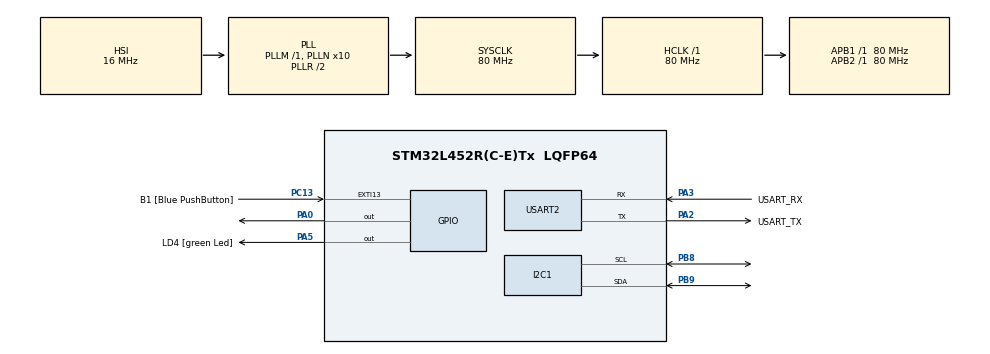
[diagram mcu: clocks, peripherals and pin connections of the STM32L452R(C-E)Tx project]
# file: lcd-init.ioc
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I2C1.Timing=0x10909CEC
Mcu.Family=STM32L4
Mcu.Name=STM32L452R(C-E)Tx
Mcu.Package=LQFP64
NVIC.PriorityGroup=NVIC_PRIORITYGROUP_4
PA0.Signal=GPIO_Output
PA13\ (JTMS/SWDIO).GPIO_Label=TMS
PA13\ (JTMS/SWDIO).Mode=Serial_Wire
PA13\ (JTMS/SWDIO).Signal=SYS_JTMS-SWDIO
PA14\ (JTCK/SWCLK).GPIO_Label=TCK
PA14\ (JTCK/SWCLK).Mode=Serial_Wire
PA14\ (JTCK/SWCLK).Signal=SYS_JTCK-SWCLK
PA2.GPIO_Label=USART_TX
PA2.GPIO_Mode=GPIO_MODE_AF_PP
PA2.GPIO_PuPd=GPIO_NOPULL
PA2.GPIO_Speed=GPIO_SPEED_FREQ_VERY_HIGH
PA2.Mode=Asynchronous
PA2.Signal=USART2_TX
PA3.GPIO_Label=USART_RX
PA3.GPIO_Mode=GPIO_MODE_AF_PP
PA3.GPIO_PuPd=GPIO_NOPULL
PA3.GPIO_Speed=GPIO_SPEED_FREQ_VERY_HIGH
PA3.Mode=Asynchronous
PA3.Signal=USART2_RX
PA5.GPIO_Label=LD4 [green Led]
PA5.GPIO_ModeDefaultOutputPP=GPIO_MODE_OUTPUT_PP
PA5.GPIO_PuPd=GPIO_NOPULL
PA5.GPIO_Speed=GPIO_SPEED_FREQ_LOW
PA5.Signal=GPIO_Output
PB3\ (JTDO/TRACESWO).GPIO_Label=SWO
PB3\ (JTDO/TRACESWO).Signal=SYS_JTDO-SWO
PB8.Mode=I2C
PB8.Signal=I2C1_SCL
PB9.Mode=I2C
PB9.Signal=I2C1_SDA
PC13.GPIO_Label=B1 [Blue PushButton]
PC13.GPIO_ModeDefaultEXTI=GPIO_MODE_IT_FALLING
PC13.GPIO_PuPd=GPIO_NOPULL
PC13.Signal=GPXTI13
PC14-OSC32_IN\ (PC14).Mode=LSE-External-Oscillator
PC14-OSC32_IN\ (PC14).Signal=RCC_OSC32_IN
PC15-OSC32_OUT\ (PC15).Mode=LSE-External-Oscillator
PC15-OSC32_OUT\ (PC15).Signal=RCC_OSC32_OUT
PH0-OSC_IN\ (PH0).Signal=RCC_OSC_IN
PH1-OSC_OUT\ (PH1).Signal=RCC_OSC_OUT
ProjectManager.HeapSize=0x200
ProjectManager.StackSize=0x400
ProjectManager.TargetToolchain=STM32CubeIDE
RCC.ADCFreq_Value=64000000
RCC.AHBFreq_Value=80000000
RCC.APB1Freq_Value=80000000
RCC.APB1TimFreq_Value=80000000
RCC.APB2Freq_Value=80000000
RCC.APB2TimFreq_Value=80000000
RCC.CortexFreq_Value=80000000
RCC.HCLKFreq_Value=80000000
RCC.HSE_VALUE=8000000
RCC.HSI48_VALUE=48000000
RCC.HSI_VALUE=16000000
RCC.MSI_VALUE=4000000
RCC.PLLN=10
RCC.PLLSourceVirtual=RCC_PLLSOURCE_HSI
RCC.PREFETCH_ENABLE=1
RCC.SYSCLKFreq_VALUE=80000000
RCC.SYSCLKSource=RCC_SYSCLKSOURCE_PLLCLK
RCC.USBFreq_Value=64000000
RCC.VCOOutputFreq_Value=160000000
USART2.VirtualMode-Asynchronous=VM_ASYNC
board=NUCLEO-L452RE

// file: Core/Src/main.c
/* USER CODE BEGIN Header */
/**
  ******************************************************************************
  * @file           : main.c
  * @brief          : Main program body
  ******************************************************************************
  * @attention
  *
  * Copyright (c) 2023 STMicroelectronics.
  * All rights reserved.
  *
  * This software is licensed under terms that can be found in the LICENSE file
  * in the root directory of this software component.
  * If no LICENSE file comes with this software, it is provided AS-IS.
  *
  ******************************************************************************
  *	prints cursor or "hello world" or hardcoded xyz coordinates of an accelerometer
  *	works with LCD screen
  */
/* USER CODE END Header */
#include "main.h"

/* USER CODE BEGIN Includes */
#include <string.h>
#include <stdio.h>
/* USER CODE END Includes */

/* USER CODE BEGIN PD */

// from screen_cmds.h
#define SCREEN_ADDR	0x78									// i2c address from datasheet

#define COMMAND_CLEAR_DISPLAY						0x01
#define COMMAND_RETURN_HOME							0x02
#define COMMAND_ENTRY_MODE_SET						0x04
#define ENTRY_MODE_LEFT_TO_RIGHT					0x02
#define ENTRY_MODE_SHIFT_INCREMENT					0x01
#define COMMAND_CURSORSHIFT							0x10
#define CURSORSHIFT_MOVERIGHT						0x04
#define CURSORSHIFT_MOVELEFT						0x00

#define COMMAND_ADDRESS_DDRAM						0x80
#define COMMAND_ADDRESS_CGRAM                       0x40

#define COMMAND_8BIT_4LINES_NORMAL_RE1_IS0			0x3A  //Extended command access RE = 1
#define COMMAND_8BIT_4LINES_REVERSE_RE1_IS0			0x3B  //Extended command access RE = 1
#define COMMAND_8BIT_4LINES_RE0_IS1					0x39  //Extended command access IS = 1
#define COMMAND_8BIT_4LINES_RE0_IS0					0x38  //Normal mode...

//Command from extended set (RE = 1, IS = 0)
#define COMMAND_BS1_1								0x1E
#define COMMAND_POWER_DOWN_DISABLE					0x02
#define COMMAND_SEGMENT_TOP_VIEW					0x05
#define COMMAND_SEGMENT_BOTTOM_VIEW					0x06
#define COMMAND_NW									0x09

//Command from extended set (RE = 0, IS = 1)
#define COMMAND_DISPLAY_ON_CURSOR_ON_BLINK_ON		0x0F
#define COMMAND_DISPLAY_ON_CURSOR_ON_BLINK_OFF		0x0E
#define COMMAND_DISPLAY_ON_CURSOR_OFF_BLINK_OFF		0x0C
#define COMMAND_DISPLAY_OFF_CURSOR_OFF_BLINK_OFF	0x08
#define COMMAND_BS0_1								0x1B
#define COMMAND_INTERNAL_DIVIDER					0x13
#define COMMAND_CONTRAST							0x77
#define COMMAND_POWER_ICON_CONTRAST					0x5C
#define COMMAND_FOLLOWER_CONTROL					0x6E
#define COMMAND_POWER_BOOSTER_CONTRAST				0x57		//Booster on and set contrast (DB1=C5, DB0=C4)
#define COMMAND_SET_CONTRAST_1010					0x7A		//Booster on and set contrast (DB1=C5, DB0=C4)

// Cursor Commands
#define COMMAND_SET_CURSOR_LINE_1					0x80		//Move the cursor to line 1
#define COMMAND_SET_CURSOR_LINE_2					0xA0		//Move the cursor to line 1
#define COMMAND_SET_CURSOR_LINE_3					0xC0		//Move the cursor to line 1
#define COMMAND_SET_CURSOR_LINE_4					0xE0		//Move the cursor to line 1

#define LINE_LENGTH 10 // number of chars in a line (4x10 screen)

// more variables
float xg, yg, zg;

/* USER CODE END PD */

I2C_HandleTypeDef hi2c1;

UART_HandleTypeDef huart2;

void SystemClock_Config(void);
static void MX_GPIO_Init(void);
static void MX_USART2_UART_Init(void);
static void MX_I2C1_Init(void);
/* USER CODE BEGIN PFP */

/// @brief Write an I2C cmd to DOGS164N LCD display,
/// including start, stop and address operations
///
/// @param addr - Slave address of display
/// @param cmd  - "command" byte to be send
///
/// @return none
///
void I2Csendcmd(uint8_t addr, uint8_t cmd) {
	// start transmission -- should be done by HAL_I2C_Master_Transmit function already
	uint8_t data[2];
	data[0] = 0x00;
	data[1] = cmd; // data byte (not data, but command)

	HAL_I2C_Master_Transmit (&hi2c1, addr, data, 2, HAL_MAX_DELAY);

	/* // stuff for debugging
	uint8_t working[] = "\r\n working";
	uint8_t not_working[] = "\r\n not working";
	if (HAL_I2C_Master_Transmit (&hi2c1, addr, data, 2, HAL_MAX_DELAY) == 0) { // HAL_OK, TODO: add breakpoint here
		HAL_UART_Transmit(&huart2, working, sizeof(working), HAL_MAX_DELAY);
	} else {
		HAL_UART_Transmit(&huart2, not_working, sizeof(not_working), HAL_MAX_DELAY);
	}
	*/
}
/// @brief Write a byte of data to DOGS164N LCD display,
/// including start, stop and address operations
///
/// @param addr - Slave address of display
/// @param data  - "data" byte to be send
///
/// @return none
///
void I2Csenddatum (uint8_t addr, uint8_t data) { // I2Csenddatum(SCREEN_ADDR, string_to_write[letter]);
	uint8_t datum[2];
	datum[0] = 0x40;
	datum[1] = data; // data byte (not data, but command)

	HAL_I2C_Master_Transmit (&hi2c1, addr, datum, 2, HAL_MAX_DELAY);
}

/**
  * @brief  Receives in master mode an amount of data in blocking mode.
  * @param  hi2c Pointer to a I2C_HandleTypeDef structure that contains
  *                the configuration information for the specified I2C.
  * @param  DevAddress Target device address: The device 7 bits address value
  *         in datasheet must be shifted to the left before calling the interface
  * @param  pData Pointer to data buffer
  * @param  Size Amount of data to be sent
  * @param  Timeout Timeout duration
  * @retval HAL status
  */
//HAL_StatusTypeDef HAL_I2C_Master_Receive(I2C_HandleTypeDef *hi2c, uint16_t DevAddress, uint8_t *pData,
//                                         uint16_t Size, uint32_t Timeout)

/**
  * @brief Send an amount of data in blocking mode.
  * @param huart   UART handle.
  * @param pData   Pointer to data buffer (u8 or u16 data elements).
  * @param Size    Amount of data elements (u8 or u16) to be sent.
  * @param Timeout Timeout duration.
  * @retval HAL status
  */
// HAL_StatusTypeDef HAL_UART_Transmit(UART_HandleTypeDef *huart, const uint8_t *pData, uint16_t Size, uint32_t Timeout)

void I2Cread (uint8_t addr) {
	uint8_t data[2];
	HAL_I2C_Master_Receive(&hi2c1, addr, data, 1, 10); // TODO: might be wrong
	HAL_UART_Transmit(&huart2,data,strlen((char*)data),HAL_MAX_DELAY); // TODO: delete this after - just for debugging
}

void screen_init(void){

	/* // stuff for debugging
	uint8_t one[] = "\r\n instr 1:"; //Data to send
	HAL_UART_Transmit(&huart2,one,sizeof(one),10);// Sending in normal mode
	I2Csendcmd(SCREEN_ADDR, COMMAND_CLEAR_DISPLAY); // 0x78, 0x01

	uint8_t two[] = "\r\n instr 2:"; //Data to send
	HAL_UART_Transmit(&huart2,two,sizeof(two),10);// Sending in normal mode
	I2Csendcmd(SCREEN_ADDR, COMMAND_8BIT_4LINES_NORMAL_RE1_IS0); // 0x3A

	uint8_t three[] = "\r\n instr 3:"; //Data to send
	HAL_UART_Transmit(&huart2,three,sizeof(three),10);// Sending in normal mode
	I2Csendcmd(SCREEN_ADDR, COMMAND_NW); // 0x09

	uint8_t four[] = "\r\n instr 4:"; //Data to send
	HAL_UART_Transmit(&huart2,four,sizeof(four),10);// Sending in normal mode
	I2Csendcmd(SCREEN_ADDR, COMMAND_SEGMENT_BOTTOM_VIEW); // 0x06

	uint8_t five[] = "\r\n instr 5:"; //Data to send
	HAL_UART_Transmit(&huart2,five,sizeof(five),10);// Sending in normal mode
	I2Csendcmd(SCREEN_ADDR, COMMAND_BS1_1); // 0x1E

	uint8_t six[] = "\r\n instr 6:"; //Data to send
	HAL_UART_Transmit(&huart2,six,sizeof(six),10);// Sending in normal mode
	I2Csendcmd(SCREEN_ADDR, COMMAND_8BIT_4LINES_RE0_IS1); // 0x39

	I2Csendcmd(SCREEN_ADDR, COMMAND_BS0_1); // 0x1B
	I2Csendcmd(SCREEN_ADDR, COMMAND_FOLLOWER_CONTROL); // 0x6E
	I2Csendcmd(SCREEN_ADDR, COMMAND_POWER_BOOSTER_CONTRAST); // 0x57
	I2Csendcmd(SCREEN_ADDR, COMMAND_SET_CONTRAST_1010); // 0x7A
	I2Csendcmd(SCREEN_ADDR, COMMAND_8BIT_4LINES_RE0_IS0); // 0x38
	I2Csendcmd(SCREEN_ADDR, COMMAND_DISPLAY_ON_CURSOR_ON_BLINK_ON); // 0x0F

	I2Csendcmd(SCREEN_ADDR, COMMAND_CLEAR_DISPLAY); // 0x01
	*/

	I2Csendcmd(SCREEN_ADDR, COMMAND_CLEAR_DISPLAY); // 0x78, 0x01
	I2Csendcmd(SCREEN_ADDR, COMMAND_8BIT_4LINES_NORMAL_RE1_IS0); // 0x3A
	I2Csendcmd(SCREEN_ADDR, COMMAND_NW);
	I2Csendcmd(SCREEN_ADDR, COMMAND_SEGMENT_BOTTOM_VIEW);
	I2Csendcmd(SCREEN_ADDR, COMMAND_BS1_1);
	I2Csendcmd(SCREEN_ADDR, COMMAND_8BIT_4LINES_RE0_IS1);
	I2Csendcmd(SCREEN_ADDR, COMMAND_BS0_1);
	I2Csendcmd(SCREEN_ADDR, COMMAND_FOLLOWER_CONTROL);
	I2Csendcmd(SCREEN_ADDR, COMMAND_POWER_BOOSTER_CONTRAST);
	I2Csendcmd(SCREEN_ADDR, COMMAND_SET_CONTRAST_1010);
	I2Csendcmd(SCREEN_ADDR, COMMAND_8BIT_4LINES_RE0_IS0);
	I2Csendcmd(SCREEN_ADDR, COMMAND_DISPLAY_ON_CURSOR_ON_BLINK_ON);

	I2Csendcmd(SCREEN_ADDR, COMMAND_CLEAR_DISPLAY);

}

void screen_write_string(char string_to_write[]) {

	int letter=0; // index for string

	I2Csendcmd(SCREEN_ADDR, COMMAND_CLEAR_DISPLAY);
	I2Csendcmd(SCREEN_ADDR, COMMAND_SET_CURSOR_LINE_1);
	int current_line = COMMAND_SET_CURSOR_LINE_1;

	while(string_to_write[letter]!='\0') // check if end of string
	{
		if ((letter != 0) && (letter % LINE_LENGTH == 0)) // move to a next line if index is a multiple of 10
		{
			if (current_line == COMMAND_SET_CURSOR_LINE_4){ // clear screen and put cursor to line 1 when screen is filled
				current_line = COMMAND_SET_CURSOR_LINE_1;// We've gone past the end of the line, go to the next one
				I2Csendcmd(SCREEN_ADDR, COMMAND_CLEAR_DISPLAY);
			}
			else {
				current_line = current_line+0x20;
				I2Csendcmd(SCREEN_ADDR, current_line); // We've gone past the end of the line, go to the next one
			}
		}

		I2Csenddatum(SCREEN_ADDR, string_to_write[letter]);
		letter++;
	}

}

void screen_write_xyz (float x, float y, float z) {

	char str_x[11]; // not 10 bc dont want cursor to do funky stuff if reach multiple of 10
	char str_y[11];
	char str_z[11];
	char str_xyz[30];

	for (int i=0; i<30; i++) {
		str_xyz[i] = '\0';
	}
	// check if all chars initialized to NULL

	sprintf (str_x, "X:%.4f  ", x); // check str_x
	sprintf (str_y, "Y:%.4f  ", y); // check str_y
	sprintf (str_z, "Z:%.4f  ", z); // check str_z

	strcpy (str_xyz, str_x);
	strcat (str_xyz, str_y);
	strcat (str_xyz, str_z);
	// check str_xyz

	screen_write_string(str_xyz);

}

void screen_write_accel_data (float x, float y, float z) {
	I2Csendcmd(SCREEN_ADDR, COMMAND_CLEAR_DISPLAY);
	screen_write_xyz(x,y,z);
	HAL_Delay(100);
}

/* USER CODE END PFP */

int main(void)
{
  /* USER CODE BEGIN 1 */
	const int STR_LEN = 40;
	char string_to_write[STR_LEN];
  /* USER CODE END 1 */

  /* MCU Configuration--------------------------------------------------------*/

  /* Reset of all peripherals, Initializes the Flash interface and the Systick. */
  HAL_Init();

  /* Configure the system clock */
  SystemClock_Config();

  /* Initialize all configured peripherals */
  MX_GPIO_Init();
  MX_USART2_UART_Init();
  MX_I2C1_Init();
  /* USER CODE BEGIN 2 */

  // turn off display, turn on display (translated from PORTD section of Stewart's code)
  HAL_Delay(5);
  HAL_GPIO_WritePin(GPIOA, GPIO_PIN_0,GPIO_PIN_RESET);
  HAL_Delay(200);
  HAL_GPIO_WritePin(GPIOA, GPIO_PIN_0,GPIO_PIN_SET);
  HAL_Delay(5);

  //1. clear screen
    screen_init();

    uint8_t cursor[] = "\r\n look at the screen for cursor :D"; //Data to send
    HAL_UART_Transmit(&huart2,cursor,sizeof(cursor),10);// Sending in normal mode

  //2. write Hello World to display
    sprintf(string_to_write, "hello world");
    screen_write_string(string_to_write);

    uint8_t hello_world[] = "\r\n look at the screen for hello world :D"; //Data to send
    HAL_UART_Transmit(&huart2,hello_world,sizeof(hello_world),10);// Sending in normal mode

  // 3. display x
    xg = 0.1234567;
    screen_write_xyz(xg,xg,xg);

  /* USER CODE END 2 */

  /* Infinite loop */
  while (1)
  {

  }
}

void SystemClock_Config(void)
{
  RCC_OscInitTypeDef RCC_OscInitStruct = {0};
  RCC_ClkInitTypeDef RCC_ClkInitStruct = {0};

  /** Configure the main internal regulator output voltage
  */
  if (HAL_PWREx_ControlVoltageScaling(PWR_REGULATOR_VOLTAGE_SCALE1) != HAL_OK)
  {
    Error_Handler();
  }

  /** Initializes the RCC Oscillators according to the specified parameters
  * in the RCC_OscInitTypeDef structure.
  */
  RCC_OscInitStruct.OscillatorType = RCC_OSCILLATORTYPE_HSI;
  RCC_OscInitStruct.HSIState = RCC_HSI_ON;
  RCC_OscInitStruct.HSICalibrationValue = RCC_HSICALIBRATION_DEFAULT;
  RCC_OscInitStruct.PLL.PLLState = RCC_PLL_ON;
  RCC_OscInitStruct.PLL.PLLSource = RCC_PLLSOURCE_HSI;
  RCC_OscInitStruct.PLL.PLLM = 1;
  RCC_OscInitStruct.PLL.PLLN = 10;
  RCC_OscInitStruct.PLL.PLLP = RCC_PLLP_DIV7;
  RCC_OscInitStruct.PLL.PLLQ = RCC_PLLQ_DIV2;
  RCC_OscInitStruct.PLL.PLLR = RCC_PLLR_DIV2;
  if (HAL_RCC_OscConfig(&RCC_OscInitStruct) != HAL_OK)
  {
    Error_Handler();
  }

  /** Initializes the CPU, AHB and APB buses clocks
  */
  RCC_ClkInitStruct.ClockType = RCC_CLOCKTYPE_HCLK|RCC_CLOCKTYPE_SYSCLK
                              |RCC_CLOCKTYPE_PCLK1|RCC_CLOCKTYPE_PCLK2;
  RCC_ClkInitStruct.SYSCLKSource = RCC_SYSCLKSOURCE_PLLCLK;
  RCC_ClkInitStruct.AHBCLKDivider = RCC_SYSCLK_DIV1;
  RCC_ClkInitStruct.APB1CLKDivider = RCC_HCLK_DIV1;
  RCC_ClkInitStruct.APB2CLKDivider = RCC_HCLK_DIV1;

  if (HAL_RCC_ClockConfig(&RCC_ClkInitStruct, FLASH_LATENCY_4) != HAL_OK)
  {
    Error_Handler();
  }
}

static void MX_I2C1_Init(void)
{

  hi2c1.Instance = I2C1;
  hi2c1.Init.Timing = 0x10909CEC;
  hi2c1.Init.OwnAddress1 = 0;
  hi2c1.Init.AddressingMode = I2C_ADDRESSINGMODE_7BIT;
  hi2c1.Init.DualAddressMode = I2C_DUALADDRESS_DISABLE;
  hi2c1.Init.OwnAddress2 = 0;
  hi2c1.Init.OwnAddress2Masks = I2C_OA2_NOMASK;
  hi2c1.Init.GeneralCallMode = I2C_GENERALCALL_DISABLE;
  hi2c1.Init.NoStretchMode = I2C_NOSTRETCH_DISABLE;
  if (HAL_I2C_Init(&hi2c1) != HAL_OK)
  {
    Error_Handler();
  }

  /** Configure Analogue filter
  */
  if (HAL_I2CEx_ConfigAnalogFilter(&hi2c1, I2C_ANALOGFILTER_ENABLE) != HAL_OK)
  {
    Error_Handler();
  }

  /** Configure Digital filter
  */
  if (HAL_I2CEx_ConfigDigitalFilter(&hi2c1, 0) != HAL_OK)
  {
    Error_Handler();
  }

}

static void MX_USART2_UART_Init(void)
{

  huart2.Instance = USART2;
  huart2.Init.BaudRate = 115200;
  huart2.Init.WordLength = UART_WORDLENGTH_8B;
  huart2.Init.StopBits = UART_STOPBITS_1;
  huart2.Init.Parity = UART_PARITY_NONE;
  huart2.Init.Mode = UART_MODE_TX_RX;
  huart2.Init.HwFlowCtl = UART_HWCONTROL_NONE;
  huart2.Init.OverSampling = UART_OVERSAMPLING_16;
  huart2.Init.OneBitSampling = UART_ONE_BIT_SAMPLE_DISABLE;
  huart2.AdvancedInit.AdvFeatureInit = UART_ADVFEATURE_NO_INIT;
  if (HAL_UART_Init(&huart2) != HAL_OK)
  {
    Error_Handler();
  }

}

static void MX_GPIO_Init(void)
{
  GPIO_InitTypeDef GPIO_InitStruct = {0};

  /* GPIO Ports Clock Enable */
  __HAL_RCC_GPIOC_CLK_ENABLE();
  __HAL_RCC_GPIOH_CLK_ENABLE();
  __HAL_RCC_GPIOA_CLK_ENABLE();
  __HAL_RCC_GPIOB_CLK_ENABLE();

  /*Configure GPIO pin Output Level */
  HAL_GPIO_WritePin(GPIOA, GPIO_PIN_0|LD4_Pin, GPIO_PIN_RESET);

  /*Configure GPIO pin : B1_Pin */
  GPIO_InitStruct.Pin = B1_Pin;
  GPIO_InitStruct.Mode = GPIO_MODE_IT_FALLING;
  GPIO_InitStruct.Pull = GPIO_NOPULL;
  HAL_GPIO_Init(B1_GPIO_Port, &GPIO_InitStruct);

  /*Configure GPIO pins : PA0 LD4_Pin */
  GPIO_InitStruct.Pin = GPIO_PIN_0|LD4_Pin;
  GPIO_InitStruct.Mode = GPIO_MODE_OUTPUT_PP;
  GPIO_InitStruct.Pull = GPIO_NOPULL;
  GPIO_InitStruct.Speed = GPIO_SPEED_FREQ_LOW;
  HAL_GPIO_Init(GPIOA, &GPIO_InitStruct);

}

void Error_Handler(void)
{
  __disable_irq();
  while (1)
  {
  }
}
